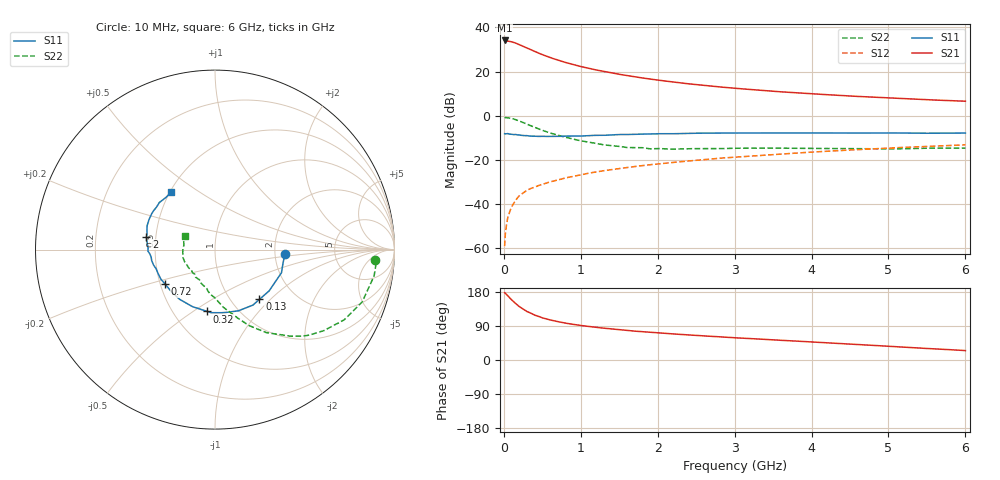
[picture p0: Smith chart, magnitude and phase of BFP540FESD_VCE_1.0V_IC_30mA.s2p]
! Infineon Technologies  Discrete & RF Semiconductors
! BFP540FESD
! VCE =  1.0 V,  IC =  30 mA
! Common Emitter S-Parameters:  Nov 2015
# GHz  S  MA  R  50
!  f  S11  S21  S12  S22
! GHz  MAG  ANG  MAG  ANG  MAG  ANG  MAG  ANG
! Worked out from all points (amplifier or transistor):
!   210 points, 10 MHz to 6 GHz, reference 50 ohm
!   highest |S21| = 34.1 dB at 10 MHz (marker M1)
!   |S21| within 3 dB of that: start of sweep to 272.2 MHz
!   unconditionally stable (mu >= 1): start of sweep to 14.33 MHz; 1.393 GHz to end of sweep
!   at 185 MHz: K = 0.39, MSG = 34.7 dB, |S12| = -37.0 dB
!   at 1.52 GHz: K = 1.01, MAG = 20.6 dB, |S12| = -23.9 dB
!   at 6 GHz: K = 1.16, MAG = 7.5 dB, |S12| = -13.2 dB
!   S11 on the Smith chart (normalised r, x): 10 MHz: 2.27, -0.13; 130 MHz: 1.34, -0.86; 320 MHz: 0.73, -0.57; 720 MHz: 0.53, -0.23; 2 GHz: 0.44, +0.08; 6 GHz: 0.51, +0.39
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0.01  0.39 -3.7  50.54 177.7  0.0011 102.4  0.8949 -3.6
0.02  0.3863 -9.7  49.28 176.0  0.0021 100.1  0.904 -2.9
0.05  0.3922 -19.2  49.19 169.7  0.0048 88.5  0.8985 -9.4
0.1  0.3793 -37.3  47.21 159.0  0.0084 81.2  0.8704 -19.6
0.13  0.3718 -48.2  45.38 153.4  0.0104 76.7  0.8369 -24.9
0.15  0.3745 -55.6  44.41 149.5  0.0118 74.6  0.8188 -28.6
0.2  0.3651 -69.0  40.73 141.1  0.0152 72.1  0.7566 -36.6
0.26  0.3534 -84.3  36.58 133.0  0.0181 69.9  0.6871 -44.6
0.32  0.3474 -97.1  32.84 126.4  0.0211 67.3  0.6197 -50.5
0.4  0.3417 -111.5  28.4 118.5  0.0242 64.8  0.5435 -58.3
0.5  0.3399 -125.4  24.1 111.3  0.0277 62.7  0.4643 -65.8
0.6  0.338 -135.3  20.68 105.8  0.0314 63.4  0.4043 -71.4
0.72  0.3378 -145.4  17.72 100.5  0.0355 64.2  0.3528 -77.4
0.88  0.3438 -155.7  14.69 94.7  0.0414 63.1  0.2992 -85.1
1.02  0.3463 -162.7  12.74 90.6  0.0461 63.8  0.2653 -91.1
1.5  0.3737 -178.7  8.644 79.8  0.0632 62.5  0.2017 -112.8
2  0.3887 169.3  6.383 71.5  0.08 60.3  0.1798 -133.5
2.02  0.3887 169.1  6.322 71.3  0.0807 60.2  0.1791 -134.1
3.1  0.4038 154.9  4.042 57.7  0.1177 54.1  0.1823 -159.7
4.1  0.4045 147.1  3.053 46.5  0.1524 47.5  0.1804 -175.0
5.1  0.4043 138.5  2.476 35.0  0.1871 39.3  0.1763 170.0
6  0.4026 127.7  2.121 24.9  0.2176 31.3  0.1837 154.7
